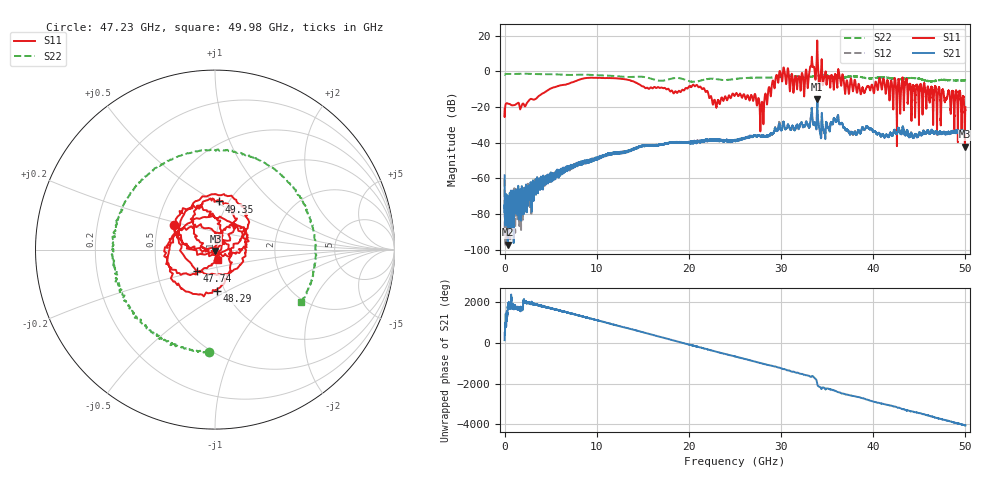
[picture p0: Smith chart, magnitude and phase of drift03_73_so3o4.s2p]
!Created with skrf (http://scikit-rf.org).
# Hz S RI R 50.0
!freq ReS11 ImS11 ReS21 ImS21 ReS12 ImS12 ReS22 ImS22
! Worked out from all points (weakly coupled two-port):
!   10001 points, 300 kHz to 50 GHz, reference 50 ohm
!   highest |S21| = -15.51 dB at 33.92 GHz (marker M1); lowest = -97.2 dB at 360.3 MHz (marker M2)
!   lowest |S11| = -42.2 dB at 49.95 GHz (marker M3), VSWR 1.02, Z = 50.2 - j0.739 ohm
!   |S11| at or under -10 dB: start of sweep to 4.849 GHz; 21.69 GHz to 28.62 GHz (6.931 GHz wide, 27.6 % of centre); 47.2 GHz to end of sweep (the widest 3 of 41)
!   |S22| runs from -5.9 to -1.3 dB; largest |S21 - S12| = 0.02
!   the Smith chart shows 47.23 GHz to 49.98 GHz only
!   S11 on the Smith chart (normalised r, x): 47.23 GHz: 0.61, +0.18; 47.74 GHz: 0.79, -0.20; 48.29 GHz: 0.92, -0.45; 49.35 GHz: 0.90, +0.52; 49.98 GHz: 1.03, -0.12
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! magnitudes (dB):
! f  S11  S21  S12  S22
! 300 kHz  -21.2  -58.3  -60.5  -2.1
! 360.3 MHz  -18.1  -97.2  -75.1  -1.4
! 8.335 GHz  -4.3  -51.2  -51.5  -1.9
! 16.67 GHz  -8.8  -41.2  -41.5  -5.2
! 21.01 GHz  -8.7  -39.6  -39.5  -5.5
! 22.81 GHz  -16.1  -38.7  -38.7  -4.2
! 25 GHz  -13.4  -38.8  -38.9  -4.3
! 27.02 GHz  -15.7  -36.1  -36.6  -3.5
! 27.91 GHz  -17.2  -36.4  -36.4  -3.5
! 29.69 GHz  -6.4  -32.1  -31.5  -3.1
! 32.32 GHz  -1.5  -30.4  -30.7  -3.3
! 33.34 GHz  8.0  -20.4  -20.7  -2.9
! 33.92 GHz  17.3  -15.5  -15.8  -2.5
! 38.82 GHz  -9.2  -31.4  -31.7  -3.3
! 41.67 GHz  -9.0  -36.8  -36.8  -3.6
! 47.23 GHz  -11.6  -33.9  -34.2  -4.9
! 47.74 GHz  -16.0  -34.7  -34.2  -4.8
! 48.29 GHz  -12.8  -34.6  -34.4  -4.9
! 49.35 GHz  -11.4  -33.6  -33.4  -5.1
! 49.95 GHz  -42.2  -34.0  -34.3  -4.9
! 49.98 GHz  -24.1  -33.9  -33.7  -5.1
! 50 GHz  -20.1  -33.4  -33.9  -5.0
